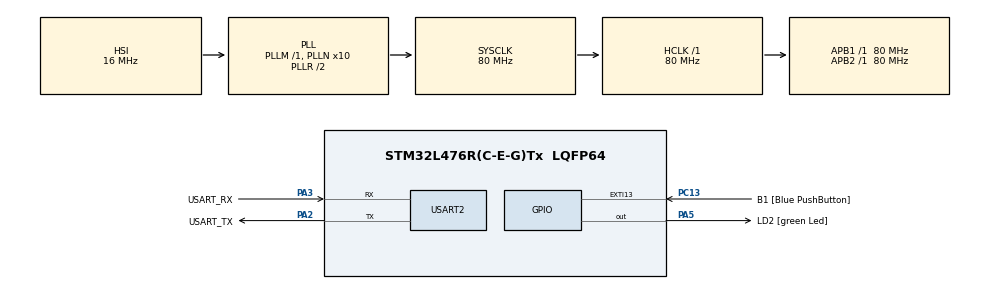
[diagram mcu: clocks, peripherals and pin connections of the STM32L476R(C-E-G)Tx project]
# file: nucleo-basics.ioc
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Dma.Request0=USART2_TX
Dma.USART2_TX.0.Direction=DMA_MEMORY_TO_PERIPH
Dma.USART2_TX.0.Instance=DMA1_Channel7
Dma.USART2_TX.0.MemDataAlignment=DMA_MDATAALIGN_BYTE
Dma.USART2_TX.0.MemInc=DMA_MINC_ENABLE
Dma.USART2_TX.0.Mode=DMA_NORMAL
Dma.USART2_TX.0.PeriphDataAlignment=DMA_PDATAALIGN_BYTE
Dma.USART2_TX.0.PeriphInc=DMA_PINC_DISABLE
Dma.USART2_TX.0.Priority=DMA_PRIORITY_LOW
Mcu.Family=STM32L4
Mcu.Name=STM32L476R(C-E-G)Tx
Mcu.Package=LQFP64
NVIC.DMA1_Channel7_IRQn=true\:0\:0\:false\:false\:true\:false\:true\:true
NVIC.PriorityGroup=NVIC_PRIORITYGROUP_4
NVIC.USART2_IRQn=true\:0\:0\:false\:false\:true\:true\:true\:true
PA13\ (JTMS-SWDIO).GPIO_Label=TMS
PA13\ (JTMS-SWDIO).Mode=Serial_Wire
PA13\ (JTMS-SWDIO).Signal=SYS_JTMS-SWDIO
PA14\ (JTCK-SWCLK).GPIO_Label=TCK
PA14\ (JTCK-SWCLK).Mode=Serial_Wire
PA14\ (JTCK-SWCLK).Signal=SYS_JTCK-SWCLK
PA2.GPIO_Label=USART_TX
PA2.GPIO_Mode=GPIO_MODE_AF_PP
PA2.GPIO_PuPd=GPIO_NOPULL
PA2.GPIO_Speed=GPIO_SPEED_FREQ_VERY_HIGH
PA2.Mode=Asynchronous
PA2.Signal=USART2_TX
PA3.GPIO_Label=USART_RX
PA3.GPIO_Mode=GPIO_MODE_AF_PP
PA3.GPIO_PuPd=GPIO_NOPULL
PA3.GPIO_Speed=GPIO_SPEED_FREQ_VERY_HIGH
PA3.Mode=Asynchronous
PA3.Signal=USART2_RX
PA5.GPIO_Label=LD2 [green Led]
PA5.GPIO_ModeDefaultOutputPP=GPIO_MODE_OUTPUT_PP
PA5.GPIO_PuPd=GPIO_NOPULL
PA5.GPIO_Speed=GPIO_SPEED_FREQ_LOW
PA5.Signal=GPIO_Output
PB3\ (JTDO-TRACESWO).GPIO_Label=SWO
PB3\ (JTDO-TRACESWO).Signal=SYS_JTDO-SWO
PC13.GPIO_Label=B1 [Blue PushButton]
PC13.GPIO_ModeDefaultEXTI=GPIO_MODE_IT_FALLING
PC13.GPIO_PuPd=GPIO_NOPULL
PC13.Signal=GPXTI13
PC14-OSC32_IN\ (PC14).Signal=RCC_OSC32_IN
PC15-OSC32_OUT\ (PC15).Signal=RCC_OSC32_OUT
PH0-OSC_IN\ (PH0).Signal=RCC_OSC_IN
PH1-OSC_OUT\ (PH1).Signal=RCC_OSC_OUT
ProjectManager.HeapSize=0x200
ProjectManager.StackSize=0x400
ProjectManager.TargetToolchain=Makefile
RCC.ADCFreq_Value=64000000
RCC.AHBFreq_Value=80000000
RCC.APB1Freq_Value=80000000
RCC.APB1TimFreq_Value=80000000
RCC.APB2Freq_Value=80000000
RCC.APB2TimFreq_Value=80000000
RCC.CortexFreq_Value=80000000
RCC.HCLKFreq_Value=80000000
RCC.HSE_VALUE=8000000
RCC.HSI_VALUE=16000000
RCC.LSE_VALUE=32768
RCC.MSI_VALUE=4000000
RCC.PLLN=10
RCC.PLLSourceVirtual=RCC_PLLSOURCE_HSI
RCC.PREFETCH_ENABLE=1
RCC.SYSCLKFreq_VALUE=80000000
RCC.SYSCLKSource=RCC_SYSCLKSOURCE_PLLCLK
RCC.USBFreq_Value=64000000
RCC.VCOOutputFreq_Value=160000000
USART2.VirtualMode-Asynchronous=VM_ASYNC
board=NUCLEO-L476RG

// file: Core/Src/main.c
/* USER CODE BEGIN Header */
/**
 ******************************************************************************
 * @file           : main.c
 * @brief          : Main program body
 ******************************************************************************
 * @attention
 *
 * Copyright (c) 2026 STMicroelectronics.
 * All rights reserved.
 *
 * This software is licensed under terms that can be found in the LICENSE file
 * in the root directory of this software component.
 * If no LICENSE file comes with this software, it is provided AS-IS.
 *
 ******************************************************************************
 */
/* USER CODE END Header */
#include "main.h"
#include "stdio.h"
#include "stm32l4xx_ll_usart.h"
#include "stm32l4xx_ll_utils.h"

UART_HandleTypeDef huart2;
DMA_HandleTypeDef hdma_usart2_tx;

void SystemClock_Config(void);
static void MX_GPIO_Init(void);
static void MX_DMA_Init(void);
static void MX_USART2_UART_Init(void);
/* USER CODE BEGIN PFP */
#define PUTCHAR_PROTOTYPE int __io_putchar(int ch)
/* USER CODE END PFP */

/* USER CODE BEGIN 0 */
volatile int tx_done = 0;

void UART_Send_DMA(uint8_t *buf, uint16_t len) {
  tx_done = 0;

  LL_DMA_DisableChannel(DMA1, LL_DMA_CHANNEL_7);
  LL_DMA_SetPeriphAddress(
      DMA1, LL_DMA_CHANNEL_7,
      LL_USART_DMA_GetRegAddr(USART2, LL_USART_DMA_REG_DATA_TRANSMIT));
  LL_DMA_SetMemoryAddress(DMA1, LL_DMA_CHANNEL_7, (uint32_t)buf);
  LL_DMA_SetDataLength(DMA1, LL_DMA_CHANNEL_7, len);

  LL_USART_ClearFlag_TC(USART2);
  LL_USART_EnableDMAReq_TX(USART2);

  LL_DMA_EnableIT_TC(DMA1, LL_DMA_CHANNEL_7);
  LL_DMA_EnableChannel(DMA1, LL_DMA_CHANNEL_7);
}

int count = 0;
uint8_t buffer[64];

/* USER CODE END 0 */

int main(void) {

  /* MCU Configuration--------------------------------------------------------*/

  /* Reset of all peripherals, Initializes the Flash interface and the Systick.
   */
  HAL_Init();

  /* Configure the system clock */
  SystemClock_Config();

  /* Initialize all configured peripherals */
  MX_GPIO_Init();
  MX_DMA_Init();
  MX_USART2_UART_Init();

  /* Infinite loop */
  /* USER CODE BEGIN WHILE */
  while (1) {
    int len = sprintf((char *)buffer, "Hello %d\r\n", count++);
    UART_Send_DMA(buffer, len);
    while (!tx_done)
      ;
    tx_done = 0;
    LL_mDelay(1000);
    /* USER CODE END WHILE */

  }
}

void SystemClock_Config(void) {
  RCC_OscInitTypeDef RCC_OscInitStruct = {0};
  RCC_ClkInitTypeDef RCC_ClkInitStruct = {0};

  /** Configure the main internal regulator output voltage
   */
  if (HAL_PWREx_ControlVoltageScaling(PWR_REGULATOR_VOLTAGE_SCALE1) != HAL_OK) {
    Error_Handler();
  }

  /** Initializes the RCC Oscillators according to the specified parameters
   * in the RCC_OscInitTypeDef structure.
   */
  RCC_OscInitStruct.OscillatorType = RCC_OSCILLATORTYPE_HSI;
  RCC_OscInitStruct.HSIState = RCC_HSI_ON;
  RCC_OscInitStruct.HSICalibrationValue = RCC_HSICALIBRATION_DEFAULT;
  RCC_OscInitStruct.PLL.PLLState = RCC_PLL_ON;
  RCC_OscInitStruct.PLL.PLLSource = RCC_PLLSOURCE_HSI;
  RCC_OscInitStruct.PLL.PLLM = 1;
  RCC_OscInitStruct.PLL.PLLN = 10;
  RCC_OscInitStruct.PLL.PLLP = RCC_PLLP_DIV7;
  RCC_OscInitStruct.PLL.PLLQ = RCC_PLLQ_DIV2;
  RCC_OscInitStruct.PLL.PLLR = RCC_PLLR_DIV2;
  if (HAL_RCC_OscConfig(&RCC_OscInitStruct) != HAL_OK) {
    Error_Handler();
  }

  /** Initializes the CPU, AHB and APB buses clocks
   */
  RCC_ClkInitStruct.ClockType = RCC_CLOCKTYPE_HCLK | RCC_CLOCKTYPE_SYSCLK |
                                RCC_CLOCKTYPE_PCLK1 | RCC_CLOCKTYPE_PCLK2;
  RCC_ClkInitStruct.SYSCLKSource = RCC_SYSCLKSOURCE_PLLCLK;
  RCC_ClkInitStruct.AHBCLKDivider = RCC_SYSCLK_DIV1;
  RCC_ClkInitStruct.APB1CLKDivider = RCC_HCLK_DIV1;
  RCC_ClkInitStruct.APB2CLKDivider = RCC_HCLK_DIV1;

  if (HAL_RCC_ClockConfig(&RCC_ClkInitStruct, FLASH_LATENCY_4) != HAL_OK) {
    Error_Handler();
  }
}

static void MX_USART2_UART_Init(void) {

  huart2.Instance = USART2;
  huart2.Init.BaudRate = 115200;
  huart2.Init.WordLength = UART_WORDLENGTH_8B;
  huart2.Init.StopBits = UART_STOPBITS_1;
  huart2.Init.Parity = UART_PARITY_NONE;
  huart2.Init.Mode = UART_MODE_TX_RX;
  huart2.Init.HwFlowCtl = UART_HWCONTROL_NONE;
  huart2.Init.OverSampling = UART_OVERSAMPLING_16;
  huart2.Init.OneBitSampling = UART_ONE_BIT_SAMPLE_DISABLE;
  huart2.AdvancedInit.AdvFeatureInit = UART_ADVFEATURE_NO_INIT;
  if (HAL_UART_Init(&huart2) != HAL_OK) {
    Error_Handler();
  }
}

static void MX_DMA_Init(void) {

  /* DMA controller clock enable */
  __HAL_RCC_DMA1_CLK_ENABLE();

  /* DMA interrupt init */
  /* DMA1_Channel7_IRQn interrupt configuration */
  HAL_NVIC_SetPriority(DMA1_Channel7_IRQn, 0, 0);
  HAL_NVIC_EnableIRQ(DMA1_Channel7_IRQn);
}

static void MX_GPIO_Init(void) {
  GPIO_InitTypeDef GPIO_InitStruct = {0};

  /* GPIO Ports Clock Enable */
  __HAL_RCC_GPIOC_CLK_ENABLE();
  __HAL_RCC_GPIOH_CLK_ENABLE();
  __HAL_RCC_GPIOA_CLK_ENABLE();
  __HAL_RCC_GPIOB_CLK_ENABLE();

  /*Configure GPIO pin Output Level */
  HAL_GPIO_WritePin(LD2_GPIO_Port, LD2_Pin, GPIO_PIN_RESET);

  /*Configure GPIO pin : B1_Pin */
  GPIO_InitStruct.Pin = B1_Pin;
  GPIO_InitStruct.Mode = GPIO_MODE_IT_FALLING;
  GPIO_InitStruct.Pull = GPIO_NOPULL;
  HAL_GPIO_Init(B1_GPIO_Port, &GPIO_InitStruct);

  /*Configure GPIO pin : LD2_Pin */
  GPIO_InitStruct.Pin = LD2_Pin;
  GPIO_InitStruct.Mode = GPIO_MODE_OUTPUT_PP;
  GPIO_InitStruct.Pull = GPIO_NOPULL;
  GPIO_InitStruct.Speed = GPIO_SPEED_FREQ_LOW;
  HAL_GPIO_Init(LD2_GPIO_Port, &GPIO_InitStruct);

}

/* USER CODE BEGIN 4 */
/**
 * @brief Retargets the C library printf function to the USART.
 * None
 * @retval None
 */
PUTCHAR_PROTOTYPE {
  /* Place your implementation of fputc here */
  /* e.g. write a character to the USART1 and Loop until the end of transmission
   */
  HAL_UART_Transmit(&huart2, (uint8_t *)&ch, 1, 0xFFFF);

  return ch;
}
/* USER CODE END 4 */

void Error_Handler(void) {
  __disable_irq();
  while (1) {
  }
}
#ifdef USE_FULL_ASSERT
/**
 * @brief  Reports the name of the source file and the source line number
 *         where the assert_param error has occurred.
 * @param  file: pointer to the source file name
 * @param  line: assert_param error line source number
 * @retval None
 */
void assert_failed(uint8_t *file, uint32_t line) {
  /* USER CODE BEGIN 6 */
  /* User can add his own implementation to report the file name and line
     number, ex: printf("Wrong parameters value: file %s on line %d\r\n", file,
     line) */
  /* USER CODE END 6 */
}
#endif /* USE_FULL_ASSERT */
